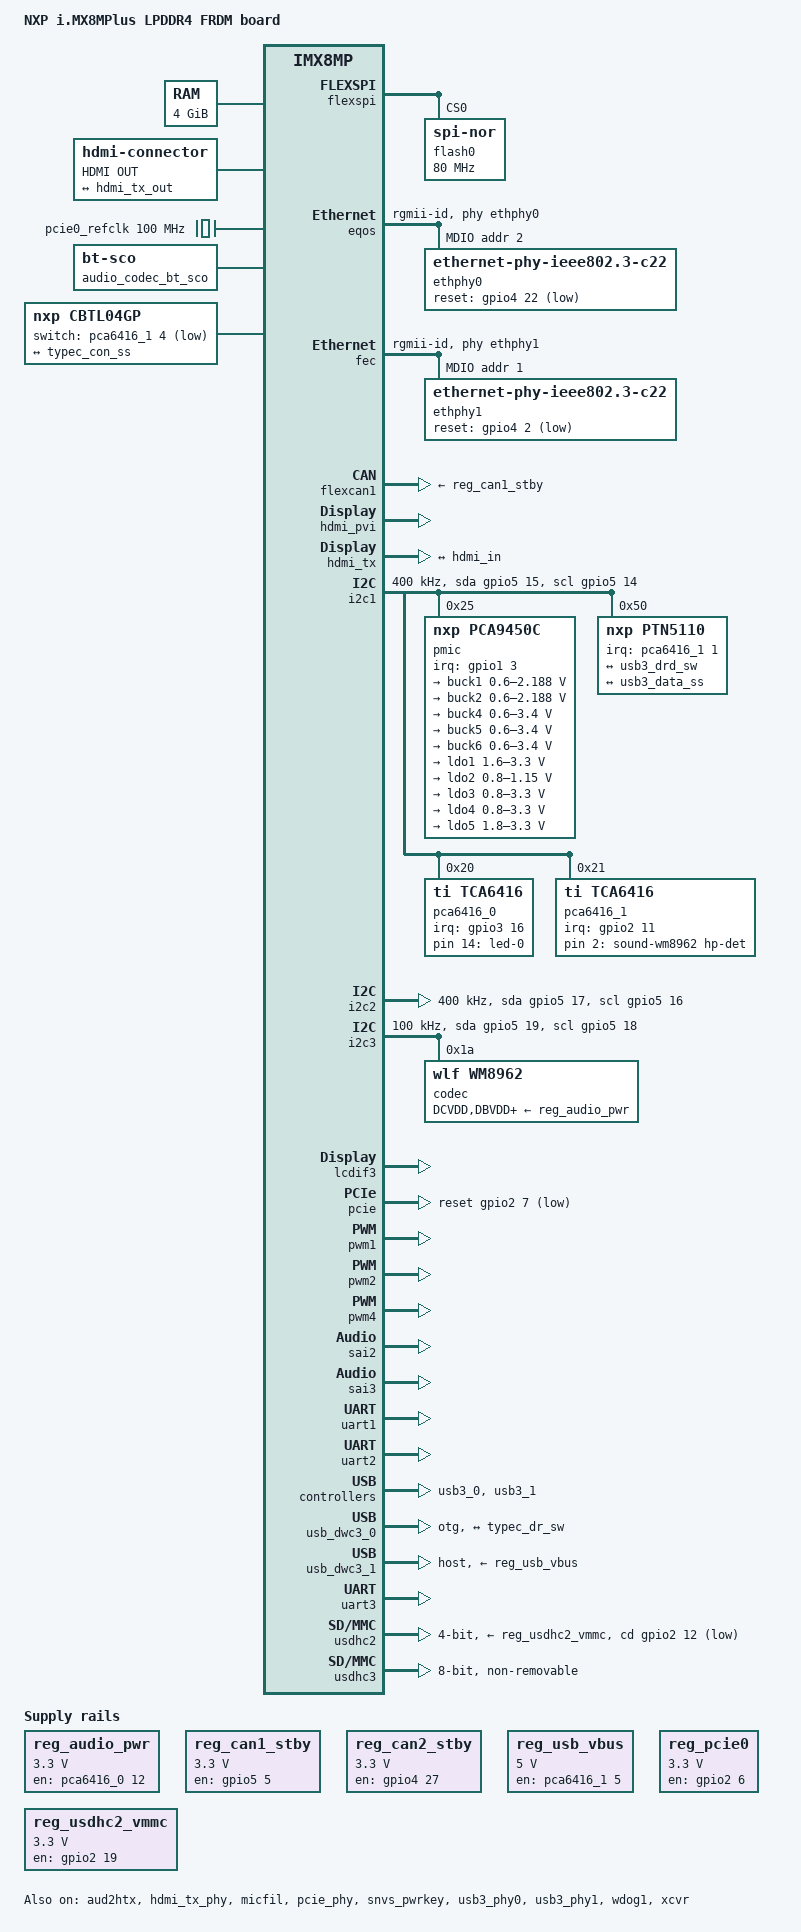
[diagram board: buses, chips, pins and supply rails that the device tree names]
// SPDX-License-Identifier: (GPL-2.0+ OR MIT)
/*
 * Copyright 2025 NXP
 */

/dts-v1/;

#include <dt-bindings/phy/phy-imx8-pcie.h>
#include <dt-bindings/usb/pd.h>
#include <../../../dts/upstream/src/arm64/freescale/imx8mp.dtsi>

/ {
	model = "NXP i.MX8MPlus LPDDR4 FRDM board";
	compatible = "fsl,imx8mp-frdm", "fsl,imx8mp";

	chosen {
		stdout-path = &uart2;
	};

	gpio-leds {
		compatible = "gpio-leds";

		led-0 {
			gpios = <&pca6416_0 14 GPIO_ACTIVE_HIGH>;
			default-state = "on";
		};
	};

	memory@40000000 {
		device_type = "memory";
		reg = <0x0 0x40000000 0 0xc0000000>,
			  <0x1 0x00000000 0 0x40000000>;
	};

	native-hdmi-connector {
		compatible = "hdmi-connector";
		label = "HDMI OUT";
		type = "a";

		port {
			hdmi_in: endpoint {
				remote-endpoint = <&hdmi_tx_out>;
			};
		};
	};

	pcie0_refclk: pcie0-refclk {
		compatible = "fixed-clock";
			#clock-cells = <0>;
			clock-frequency = <100000000>;
	};

	reg_audio_pwr: regulator-audio-pwr {
		compatible = "regulator-fixed";
		regulator-name = "audio-pwr";
		regulator-min-microvolt = <3300000>;
		regulator-max-microvolt = <3300000>;
		gpio = <&pca6416_0 12 GPIO_ACTIVE_HIGH>;
		enable-active-high;
		regulator-always-on;
	};

	reg_can1_stby: regulator-can1-stby {
		compatible = "regulator-fixed";
		regulator-name = "can1-stby";
		pinctrl-names = "default";
		pinctrl-0 = <&pinctrl_flexcan1_reg>;
		regulator-min-microvolt = <3300000>;
		regulator-max-microvolt = <3300000>;
		gpio = <&gpio5 5 GPIO_ACTIVE_HIGH>;
		enable-active-high;
	};

	reg_can2_stby: regulator-can2-stby {
		compatible = "regulator-fixed";
		regulator-name = "can2-stby";
		pinctrl-names = "default";
		pinctrl-0 = <&pinctrl_flexcan2_reg>;
		regulator-min-microvolt = <3300000>;
		regulator-max-microvolt = <3300000>;
		gpio = <&gpio4 27 GPIO_ACTIVE_HIGH>;
		enable-active-high;
	};

	reg_usb_vbus: regulator-usb-vbus {
		compatible = "regulator-fixed";
		pinctrl-names = "default";
		gpio = <&pca6416_1 5 GPIO_ACTIVE_HIGH>;
		regulator-max-microvolt = <5000000>;
		regulator-min-microvolt = <5000000>;
		regulator-name = "USB_VBUS";
		enable-active-high;
		regulator-always-on;
	};

	reg_pcie0: regulator-pcie {
		compatible = "regulator-fixed";
		pinctrl-names = "default";
		pinctrl-0 = <&pinctrl_pcie0_reg>;
		regulator-name = "MPCIE_3V3";
		regulator-min-microvolt = <3300000>;
		regulator-max-microvolt = <3300000>;
		gpio = <&gpio2 6 GPIO_ACTIVE_HIGH>;
		enable-active-high;
		regulator-always-on;
	};

	reg_usdhc2_vmmc: regulator-usdhc2 {
		compatible = "regulator-fixed";
		pinctrl-names = "default";
		pinctrl-0 = <&pinctrl_reg_usdhc2_vmmc>;
		regulator-name = "VSD_3V3";
		regulator-min-microvolt = <3300000>;
		regulator-max-microvolt = <3300000>;
		gpio = <&gpio2 19 GPIO_ACTIVE_HIGH>;
		enable-active-high;
	};

	audio_codec_bt_sco: audio-codec-bt-sco {
		compatible = "linux,bt-sco";
		#sound-dai-cells = <1>;
	};

	sound-bt-sco {
		compatible = "simple-audio-card";
		simple-audio-card,name = "bt-sco-audio";
		simple-audio-card,format = "dsp_a";
		simple-audio-card,bitclock-inversion;
		simple-audio-card,frame-master = <&btcpu>;
		simple-audio-card,bitclock-master = <&btcpu>;

		btcpu: simple-audio-card,cpu {
			sound-dai = <&sai2>;
			dai-tdm-slot-num = <2>;
			dai-tdm-slot-width = <16>;
		};

		simple-audio-card,codec {
			sound-dai = <&audio_codec_bt_sco 1>;
		};
	};

	sound-hdmi {
		compatible = "fsl,imx-audio-hdmi";
		model = "audio-hdmi";
		audio-cpu = <&aud2htx>;
		hdmi-out;
	};

	sound-micfil {
		compatible = "fsl,imx-audio-card";
		model = "micfil-audio";

		pri-dai-link {
			link-name = "micfil hifi";
			format = "i2s";

			cpu {
				sound-dai = <&micfil>;
			};
		};
	};

	sound-wm8962 {
		compatible = "fsl,imx-audio-wm8962";
		model = "wm8962-audio";
		audio-cpu = <&sai3>;
		audio-codec = <&codec>;
		audio-asrc = <&easrc>;
		hp-det-gpio = <&pca6416_1 2 GPIO_ACTIVE_HIGH>;
		audio-routing =
			"Headphone Jack", "HPOUTL",
			"Headphone Jack", "HPOUTR",
			"Ext Spk", "SPKOUTL",
			"Ext Spk", "SPKOUTR",
			"AMIC", "MICBIAS",
			"IN3R", "AMIC",
			"IN1R", "AMIC";
	};

	sound-xcvr {
		compatible = "fsl,imx-audio-card";
		model = "imx-audio-xcvr";

		pri-dai-link {
			link-name = "XCVR PCM";

			cpu {
				sound-dai = <&xcvr>;
			};
		};
	};

	reserved-memory {
		#address-cells = <2>;
		#size-cells = <2>;
		ranges;

		dsp_vdev0vring0: vdev0vring0@942f0000 {
			reg = <0 0x942f0000 0 0x8000>;
			no-map;
		};

		dsp_vdev0vring1: vdev0vring1@942f8000 {
			reg = <0 0x942f8000 0 0x8000>;
			no-map;
		};

		dsp_vdev0buffer: vdev0buffer@94300000 {
			compatible = "shared-dma-pool";
			reg = <0 0x94300000 0 0x100000>;
			no-map;
		};
	};

	cbtl04gp {
		compatible = "nxp,cbtl04gp";
		pinctrl-names = "default";
		switch-gpios = <&pca6416_1 4 GPIO_ACTIVE_LOW>;
		orientation-switch;

		port {
			usb3_data_ss: endpoint {
				remote-endpoint = <&typec_con_ss>;
			};
		};
	};
};

&flexspi {
	pinctrl-names = "default";
	pinctrl-0 = <&pinctrl_flexspi0>;
	status = "okay";

	flash0: flash@0 {
		reg = <0>;
		#address-cells = <1>;
		#size-cells = <1>;
		compatible = "jedec,spi-nor";
		spi-max-frequency = <80000000>;
		spi-tx-bus-width = <1>;
		spi-rx-bus-width = <4>;
	};
};

&A53_0 {
	cpu-supply = <&buck2>;
};

&A53_1 {
	cpu-supply = <&buck2>;
};

&A53_2 {
	cpu-supply = <&buck2>;
};

&A53_3 {
	cpu-supply = <&buck2>;
};

&aud2htx {
	status = "okay";
};

&eqos {
	pinctrl-names = "default";
	pinctrl-0 = <&pinctrl_eqos>;
	phy-mode = "rgmii-id";
	phy-handle = <&ethphy0>;
	snps,force_thresh_dma_mode;
	snps,mtl-tx-config = <&mtl_tx_setup>;
	snps,mtl-rx-config = <&mtl_rx_setup>;
	status = "okay";

	mdio {
		compatible = "snps,dwmac-mdio";
		#address-cells = <1>;
		#size-cells = <0>;

		ethphy0: ethernet-phy@2 {
			compatible = "ethernet-phy-ieee802.3-c22";
			reg = <2>;
			eee-broken-1000t;
			reset-gpios = <&gpio4 22 GPIO_ACTIVE_LOW>;
			reset-assert-us = <10000>;
			reset-deassert-us = <80000>;
			realtek,clkout-disable;
		};
	};

	mtl_tx_setup: tx-queues-config {
		snps,tx-queues-to-use = <5>;
		snps,tx-sched-sp;

		queue0 {
			snps,dcb-algorithm;
			snps,priority = <0x1>;
		};

		queue1 {
			snps,dcb-algorithm;
			snps,priority = <0x2>;
		};

		queue2 {
			snps,dcb-algorithm;
			snps,priority = <0x4>;
		};

		queue3 {
			snps,dcb-algorithm;
			snps,priority = <0x8>;
		};

		queue4 {
			snps,dcb-algorithm;
			snps,priority = <0xf0>;
		};
	};

	mtl_rx_setup: rx-queues-config {
		snps,rx-queues-to-use = <5>;
		snps,rx-sched-sp;

		queue0 {
			snps,dcb-algorithm;
			snps,priority = <0x1>;
			snps,map-to-dma-channel = <0>;
		};

		queue1 {
			snps,dcb-algorithm;
			snps,priority = <0x2>;
			snps,map-to-dma-channel = <1>;
		};

		queue2 {
			snps,dcb-algorithm;
			snps,priority = <0x4>;
			snps,map-to-dma-channel = <2>;
		};

		queue3 {
			snps,dcb-algorithm;
			snps,priority = <0x8>;
			snps,map-to-dma-channel = <3>;
		};

		queue4 {
			snps,dcb-algorithm;
			snps,priority = <0xf0>;
			snps,map-to-dma-channel = <4>;
		};
	};
};

&fec {
	pinctrl-names = "default";
	pinctrl-0 = <&pinctrl_fec>;
	phy-mode = "rgmii-id";
	phy-handle = <&ethphy1>;
	fsl,magic-packet;
	status = "okay";

	mdio {
		#address-cells = <1>;
		#size-cells = <0>;

		ethphy1: ethernet-phy@1 {
			compatible = "ethernet-phy-ieee802.3-c22";
			reg = <1>;
			eee-broken-1000t;
			reset-gpios = <&gpio4 2 GPIO_ACTIVE_LOW>;
			reset-assert-us = <10000>;
			reset-deassert-us = <80000>;
			realtek,aldps-enable;
			realtek,clkout-disable;
		};
	};
};

&flexcan1 {
	pinctrl-names = "default";
	pinctrl-0 = <&pinctrl_flexcan1>;
	xceiver-supply = <&reg_can1_stby>;
	status = "okay";
};

&flexcan2 {
	pinctrl-names = "default";
	pinctrl-0 = <&pinctrl_flexcan2>;
	xceiver-supply = <&reg_can2_stby>;
	status = "disabled";/* can2 pin conflict with pdm */
};

&hdmi_pvi {
	status = "okay";
};

&hdmi_tx {
	pinctrl-names = "default";
	pinctrl-0 = <&pinctrl_hdmi>;
	status = "okay";

	ports {
		port@1 {
			hdmi_tx_out: endpoint {
				remote-endpoint = <&hdmi_in>;
			};
		};
	};
};

&hdmi_tx_phy {
	status = "okay";
};

&i2c1 {
	clock-frequency = <400000>;
	pinctrl-names = "default", "gpio";
	pinctrl-0 = <&pinctrl_i2c1>;
	pinctrl-1 = <&pinctrl_i2c1_gpio>;
	scl-gpios = <&gpio5 14 GPIO_ACTIVE_HIGH>;
	sda-gpios = <&gpio5 15 GPIO_ACTIVE_HIGH>;
	status = "okay";

	pmic@25 {
		compatible = "nxp,pca9450c";
		reg = <0x25>;
		pinctrl-names = "default";
		pinctrl-0 = <&pinctrl_pmic>;
		interrupt-parent = <&gpio1>;
		interrupts = <3 IRQ_TYPE_LEVEL_LOW>;

		regulators {
			buck1: BUCK1 {
				regulator-name = "BUCK1";
				regulator-min-microvolt = <600000>;
				regulator-max-microvolt = <2187500>;
				regulator-boot-on;
				regulator-always-on;
				regulator-ramp-delay = <3125>;
			};

			buck2: BUCK2 {
				regulator-name = "BUCK2";
				regulator-min-microvolt = <600000>;
				regulator-max-microvolt = <2187500>;
				regulator-boot-on;
				regulator-always-on;
				regulator-ramp-delay = <3125>;
				nxp,dvs-run-voltage = <950000>;
				nxp,dvs-standby-voltage = <850000>;
			};

			buck4: BUCK4{
				regulator-name = "BUCK4";
				regulator-min-microvolt = <600000>;
				regulator-max-microvolt = <3400000>;
				regulator-boot-on;
				regulator-always-on;
			};

			buck5: BUCK5{
				regulator-name = "BUCK5";
				regulator-min-microvolt = <600000>;
				regulator-max-microvolt = <3400000>;
				regulator-boot-on;
				regulator-always-on;
			};

			buck6: BUCK6 {
				regulator-name = "BUCK6";
				regulator-min-microvolt = <600000>;
				regulator-max-microvolt = <3400000>;
				regulator-boot-on;
				regulator-always-on;
			};

			ldo1: LDO1 {
				regulator-name = "LDO1";
				regulator-min-microvolt = <1600000>;
				regulator-max-microvolt = <3300000>;
				regulator-boot-on;
				regulator-always-on;
			};

			ldo2: LDO2 {
				regulator-name = "LDO2";
				regulator-min-microvolt = <800000>;
				regulator-max-microvolt = <1150000>;
				regulator-boot-on;
				regulator-always-on;
			};

			ldo3: LDO3 {
				regulator-name = "LDO3";
				regulator-min-microvolt = <800000>;
				regulator-max-microvolt = <3300000>;
				regulator-boot-on;
				regulator-always-on;
			};

			ldo4: LDO4 {
				regulator-name = "LDO4";
				regulator-min-microvolt = <800000>;
				regulator-max-microvolt = <3300000>;
				regulator-boot-on;
				regulator-always-on;
			};

			ldo5: LDO5 {
				regulator-name = "LDO5";
				regulator-min-microvolt = <1800000>;
				regulator-max-microvolt = <3300000>;
				regulator-boot-on;
				regulator-always-on;
			};
		};
	};

	ptn5110: tcpc@50 {
		compatible = "nxp,ptn5110";
		pinctrl-names = "default";
		reg = <0x50>;
		interrupt-parent = <&pca6416_1>;
		interrupts = <1 IRQ_TYPE_EDGE_FALLING>;

		port {
			typec_dr_sw: endpoint {
				remote-endpoint = <&usb3_drd_sw>;
			};
		};

		usb_con: connector {
			compatible = "usb-c-connector";
			label = "USB-C";
			power-role = "dual";
			data-role = "dual";
			try-power-role = "sink";
			source-pdos = <PDO_FIXED(5000, 3000, PDO_FIXED_USB_COMM)>;
			sink-pdos = <PDO_FIXED(5000, 3000, PDO_FIXED_USB_COMM)
					PDO_VAR(5000, 20000, 3000)>;
			op-sink-microwatt = <15000000>;
			self-powered;

			ports {
				#address-cells = <1>;
				#size-cells = <0>;

				port@1 {
					reg = <1>;
					typec_con_ss: endpoint {
						remote-endpoint = <&usb3_data_ss>;
					};
				};
			};
		};
	};

	pca6416_0: gpio@20 {
		compatible = "ti,tca6416";
		reg = <0x20>;
		gpio-controller;
		#gpio-cells = <2>;
		interrupt-controller;
		#interrupt-cells = <2>;
		pinctrl-names = "default";
		pinctrl-0 = <&pinctrl_pca6416_0_int>;
		interrupt-parent = <&gpio3>;
		interrupts = <16 IRQ_TYPE_LEVEL_LOW>;
		gpio-line-names = "CS1_nRST",
			"CS2_nRST",
			"DSI_CTP_RST",
			"EXT_PWREN1",
			"CAN_STBY",
			"EXP_P0_5",
			"EXP_P0_6",
			"EXP_P0_7",
			"LVDS0_BLT_EN",
			"LVDS1_BLT_EN",
			"LVDS0_CTP_RST",
			"LVDS1_CTP_RST",
			"SPK_PWREN",
			"RLED_GPIO",
			"GLED_GPIO",
			"BLED_GPIO";
	};

	pca6416_1: gpio@21 {
		compatible = "ti,tca6416";
		reg = <0x21>;
		gpio-controller;
		#gpio-cells = <2>;
		interrupt-controller;
		#interrupt-cells = <2>;
		pinctrl-names = "default";
		pinctrl-0 = <&pinctrl_pca6416_1_int>;
		interrupt-parent = <&gpio2>;
		interrupts = <11 IRQ_TYPE_LEVEL_LOW>;
		gpio-line-names = "TCPC_nINT",
			"TCPC1_nINT",
			"AUD_nINT",
			"RTC_nINT",
			"USB1_SS_SEL",
			"USB2_PWR_EN",
			"SPI_EXP_ESL",
			"FAN_EXP_SEL",
			"W2_HOST_WAKE_SD_3V3",
			"W2_HOST_WAKE_BT_3V3",
			"W2_PDN_3V3",
			"W2_WL_RST_3V3",
			"W2_RST_IND_3V3",
			"SPI_nINT_3V3",
			"EXP_P1_6",
			"EXP_P1_7";
	};
};

&i2c2 {
	clock-frequency = <400000>;
	pinctrl-names = "default", "gpio";
	pinctrl-0 = <&pinctrl_i2c2>;
	pinctrl-1 = <&pinctrl_i2c2_gpio>;
	scl-gpios = <&gpio5 16 GPIO_ACTIVE_HIGH>;
	sda-gpios = <&gpio5 17 GPIO_ACTIVE_HIGH>;
	status = "okay";

};

&i2c3 {
	clock-frequency = <100000>;
	pinctrl-names = "default", "gpio";
	pinctrl-0 = <&pinctrl_i2c3>;
	pinctrl-1 = <&pinctrl_i2c3_gpio>;
	scl-gpios = <&gpio5 18 GPIO_ACTIVE_HIGH>;
	sda-gpios = <&gpio5 19 GPIO_ACTIVE_HIGH>;
	status = "okay";

	codec: wm8962@1a {
		compatible = "wlf,wm8962";
		reg = <0x1a>;
		clocks = <&audio_blk_ctrl IMX8MP_CLK_AUDIOMIX_SAI3_MCLK1>;
		DCVDD-supply = <&reg_audio_pwr>;
		DBVDD-supply = <&reg_audio_pwr>;
		AVDD-supply = <&reg_audio_pwr>;
		CPVDD-supply = <&reg_audio_pwr>;
		MICVDD-supply = <&reg_audio_pwr>;
		PLLVDD-supply = <&reg_audio_pwr>;
		SPKVDD1-supply = <&reg_audio_pwr>;
		SPKVDD2-supply = <&reg_audio_pwr>;
		gpio-cfg = <
			0x0000 /* 0:Default */
			0x0000 /* 1:Default */
			0x0000 /* 2:FN_DMICCLK */
			0x0000 /* 3:Default */
			0x0000 /* 4:FN_DMICCDAT */
			0x0000 /* 5:Default */
		>;
	};
};

/* I2C on expansion connector J22. */
&i2c5 {
	clock-frequency = <100000>; /* Lower clock speed for external bus. */
	pinctrl-names = "default";
	pinctrl-0 = <&pinctrl_i2c5>;
	status = "disabled"; /* can1 pins conflict with i2c5 */

	/* GPIO 2 of PCA6416 is used to switch between CAN1 and I2C5 functions:
	 *	 LOW:  CAN1 (default, pull-down)
	 *	 HIGH: I2C5
	 * You need to set it to high to enable I2C5 (for example, add gpio-hog
	 * in pca6416 node).
	 */
};

&lcdif3 {
	status = "okay";
};

&micfil {
	#sound-dai-cells = <0>;
	pinctrl-names = "default";
	pinctrl-0 = <&pinctrl_pdm>;
	assigned-clocks = <&clk IMX8MP_CLK_PDM>;
	assigned-clock-parents = <&clk IMX8MP_AUDIO_PLL1_OUT>;
	assigned-clock-rates = <196608000>;
	status = "okay";
};

&mipi_dsi {
	status = "disabled";
};

&pcie_phy {
	fsl,refclk-pad-mode = <IMX8_PCIE_REFCLK_PAD_INPUT>;
	clocks = <&pcie0_refclk>;
	clock-names = "ref";
	status = "okay";
};

&pcie {
	pinctrl-names = "default";
	pinctrl-0 = <&pinctrl_pcie0>;
	reset-gpio = <&gpio2 7 GPIO_ACTIVE_LOW>;
	clocks = <&clk IMX8MP_CLK_HSIO_ROOT>,
		<&clk IMX8MP_CLK_PCIE_ROOT>,
		<&clk IMX8MP_CLK_HSIO_AXI>;
	clock-names = "pcie", "pcie_aux", "pcie_bus";
	assigned-clocks = <&clk IMX8MP_CLK_PCIE_AUX>;
	assigned-clock-rates = <10000000>;
	assigned-clock-parents = <&clk IMX8MP_SYS_PLL2_50M>;
	vpcie-supply = <&reg_pcie0>;
	status = "okay";
};

&pwm1 {
	pinctrl-names = "default";
	pinctrl-0 = <&pinctrl_pwm1>;
	status = "okay";
};

&pwm2 {
	pinctrl-names = "default";
	pinctrl-0 = <&pinctrl_pwm2>;
	status = "okay";
};

&pwm4 {
	pinctrl-names = "default";
	pinctrl-0 = <&pinctrl_pwm4>;
	status = "okay";
};

&sai2 {
	#sound-dai-cells = <0>;
	pinctrl-names = "default";
	pinctrl-0 = <&pinctrl_sai2>;
	assigned-clocks = <&clk IMX8MP_CLK_SAI2>;
	assigned-clock-parents = <&clk IMX8MP_AUDIO_PLL1_OUT>;
	assigned-clock-rates = <12288000>;
	fsl,sai-mclk-direction-output;
	status = "okay";
};

&sai3 {
	pinctrl-names = "default";
	pinctrl-0 = <&pinctrl_sai3>;
	assigned-clocks = <&clk IMX8MP_CLK_SAI3>;
	assigned-clock-parents = <&clk IMX8MP_AUDIO_PLL1_OUT>;
	assigned-clock-rates = <12288000>;
	fsl,sai-mclk-direction-output;
	status = "okay";
};

&snvs_pwrkey {
	status = "okay";
};

&uart1 {
	/* BT */
	pinctrl-names = "default";
	pinctrl-0 = <&pinctrl_uart1>;
	assigned-clocks = <&clk IMX8MP_CLK_UART1>;
	assigned-clock-parents = <&clk IMX8MP_SYS_PLL1_80M>;
	uart-has-rtscts;
	status = "okay";
};

&uart2 {
	/* console */
	pinctrl-names = "default";
	pinctrl-0 = <&pinctrl_uart2>;
	status = "okay";
};

&usb3_phy0 {
	fsl,phy-tx-vref-tune = <0xe>;
	fsl,phy-tx-preemp-amp-tune = <3>;
	fsl,phy-tx-vboost-level = <5>;
	fsl,phy-comp-dis-tune = <7>;
	fsl,pcs-tx-deemph-3p5db = <0x21>;
	fsl,phy-pcs-tx-swing-full = <0x7f>;
	status = "okay";
};

&usb3_0 {
	status = "okay";
};

&usb_dwc3_0 {
	dr_mode = "otg";
	hnp-disable;
	srp-disable;
	adp-disable;
	usb-role-switch;
	role-switch-default-mode = "none";
	snps,dis-u1-entry-quirk;
	snps,dis-u2-entry-quirk;
	status = "okay";

	port {
		usb3_drd_sw: endpoint {
			remote-endpoint = <&typec_dr_sw>;
		};
	};
};

&usb3_phy1 {
	fsl,phy-tx-preemp-amp-tune = <3>;
	fsl,phy-tx-vref-tune = <0xb>;
	status = "okay";
};

&usb3_1 {
	status = "okay";
};

&usb_dwc3_1 {
	vbus-supply = <&reg_usb_vbus>;
	dr_mode = "host";
	status = "okay";
};

&uart3 {
	pinctrl-names = "default";
	pinctrl-0 = <&pinctrl_uart3>;
	assigned-clocks = <&clk IMX8MP_CLK_UART3>;
	assigned-clock-parents = <&clk IMX8MP_SYS_PLL1_80M>;
	uart-has-rtscts;
	status = "okay";
};

&usdhc2 {
	assigned-clocks = <&clk IMX8MP_CLK_USDHC2>;
	assigned-clock-rates = <400000000>;
	pinctrl-names = "default", "state_100mhz", "state_200mhz";
	pinctrl-0 = <&pinctrl_usdhc2>, <&pinctrl_usdhc2_gpio>;
	pinctrl-1 = <&pinctrl_usdhc2_100mhz>, <&pinctrl_usdhc2_gpio>;
	pinctrl-2 = <&pinctrl_usdhc2_200mhz>, <&pinctrl_usdhc2_gpio>;
	cd-gpios = <&gpio2 12 GPIO_ACTIVE_LOW>;
	vmmc-supply = <&reg_usdhc2_vmmc>;
	bus-width = <4>;
	status = "okay";
};

&usdhc3 {
	assigned-clocks = <&clk IMX8MP_CLK_USDHC3>;
	assigned-clock-rates = <400000000>;
	pinctrl-names = "default", "state_100mhz", "state_200mhz";
	pinctrl-0 = <&pinctrl_usdhc3>;
	pinctrl-1 = <&pinctrl_usdhc3_100mhz>;
	pinctrl-2 = <&pinctrl_usdhc3_200mhz>;
	bus-width = <8>;
	non-removable;
	status = "okay";
};

&wdog1 {
	pinctrl-names = "default";
	pinctrl-0 = <&pinctrl_wdog>;
	fsl,ext-reset-output;
	status = "okay";
};

&xcvr {
	#sound-dai-cells = <0>;
	status = "okay";
};

&iomuxc {
	pinctrl-names = "default";
	pinctrl-0 = <&pinctrl_hog>;

	pinctrl_eqos: eqosgrp {
		fsl,pins = <
			MX8MP_IOMUXC_ENET_MDC__ENET_QOS_MDC				0x2
			MX8MP_IOMUXC_ENET_MDIO__ENET_QOS_MDIO				0x2
			MX8MP_IOMUXC_ENET_RD0__ENET_QOS_RGMII_RD0			0x90
			MX8MP_IOMUXC_ENET_RD1__ENET_QOS_RGMII_RD1			0x90
			MX8MP_IOMUXC_ENET_RD2__ENET_QOS_RGMII_RD2			0x90
			MX8MP_IOMUXC_ENET_RD3__ENET_QOS_RGMII_RD3			0x90
			MX8MP_IOMUXC_ENET_RXC__CCM_ENET_QOS_CLOCK_GENERATE_RX_CLK	0x90
			MX8MP_IOMUXC_ENET_RX_CTL__ENET_QOS_RGMII_RX_CTL			0x90
			MX8MP_IOMUXC_ENET_TD0__ENET_QOS_RGMII_TD0			0x16
			MX8MP_IOMUXC_ENET_TD1__ENET_QOS_RGMII_TD1			0x16
			MX8MP_IOMUXC_ENET_TD2__ENET_QOS_RGMII_TD2			0x16
			MX8MP_IOMUXC_ENET_TD3__ENET_QOS_RGMII_TD3			0x16
			MX8MP_IOMUXC_ENET_TX_CTL__ENET_QOS_RGMII_TX_CTL			0x16
			MX8MP_IOMUXC_ENET_TXC__CCM_ENET_QOS_CLOCK_GENERATE_TX_CLK	0x16
			MX8MP_IOMUXC_SAI2_RXC__GPIO4_IO22				0x10
		>;
	};

	pinctrl_fec: fecgrp {
		fsl,pins = <
			MX8MP_IOMUXC_SAI1_RXD2__ENET1_MDC		0x2
			MX8MP_IOMUXC_SAI1_RXD3__ENET1_MDIO		0x2
			MX8MP_IOMUXC_SAI1_RXD4__ENET1_RGMII_RD0		0x90
			MX8MP_IOMUXC_SAI1_RXD5__ENET1_RGMII_RD1		0x90
			MX8MP_IOMUXC_SAI1_RXD6__ENET1_RGMII_RD2		0x90
			MX8MP_IOMUXC_SAI1_RXD7__ENET1_RGMII_RD3		0x90
			MX8MP_IOMUXC_SAI1_TXC__ENET1_RGMII_RXC		0x90
			MX8MP_IOMUXC_SAI1_TXFS__ENET1_RGMII_RX_CTL	0x90
			MX8MP_IOMUXC_SAI1_TXD0__ENET1_RGMII_TD0		0x16
			MX8MP_IOMUXC_SAI1_TXD1__ENET1_RGMII_TD1		0x16
			MX8MP_IOMUXC_SAI1_TXD2__ENET1_RGMII_TD2		0x16
			MX8MP_IOMUXC_SAI1_TXD3__ENET1_RGMII_TD3		0x16
			MX8MP_IOMUXC_SAI1_TXD4__ENET1_RGMII_TX_CTL	0x16
			MX8MP_IOMUXC_SAI1_TXD5__ENET1_RGMII_TXC		0x16
			MX8MP_IOMUXC_SAI1_RXD0__GPIO4_IO02		0x10
		>;
	};

	pinctrl_flexcan1: flexcan1grp {
		fsl,pins = <
			MX8MP_IOMUXC_SPDIF_RX__CAN1_RX		  0x154
			MX8MP_IOMUXC_SPDIF_TX__CAN1_TX		  0x154
		>;
	};

	pinctrl_flexcan2: flexcan2grp {
		fsl,pins = <
			MX8MP_IOMUXC_SAI5_MCLK__CAN2_RX		 0x154
			MX8MP_IOMUXC_SAI5_RXD3__CAN2_TX		 0x154
		>;
	};

	pinctrl_flexcan1_reg: flexcan1reggrp {
		fsl,pins = <
			MX8MP_IOMUXC_SPDIF_EXT_CLK__GPIO5_IO05  0x154   /* CAN1_STBY */
		>;
	};

	pinctrl_flexcan2_reg: flexcan2reggrp {
		fsl,pins = <
			MX8MP_IOMUXC_SAI2_MCLK__GPIO4_IO27	  0x154   /* CAN2_STBY */
		>;
	};

	pinctrl_flexspi0: flexspi0grp {
		fsl,pins = <
			MX8MP_IOMUXC_NAND_ALE__FLEXSPI_A_SCLK		   0x1c2
			MX8MP_IOMUXC_NAND_CE0_B__FLEXSPI_A_SS0_B		0x82
			MX8MP_IOMUXC_NAND_DATA00__FLEXSPI_A_DATA00	  0x82
			MX8MP_IOMUXC_NAND_DATA01__FLEXSPI_A_DATA01	  0x82
			MX8MP_IOMUXC_NAND_DATA02__FLEXSPI_A_DATA02	  0x82
			MX8MP_IOMUXC_NAND_DATA03__FLEXSPI_A_DATA03	  0x82
		>;
	};

	pinctrl_gpio_led: gpioledgrp {
		fsl,pins = <
			MX8MP_IOMUXC_NAND_READY_B__GPIO3_IO16	0x140
		>;
	};

	pinctrl_hdmi: hdmigrp {
		fsl,pins = <
			MX8MP_IOMUXC_HDMI_DDC_SCL__HDMIMIX_HDMI_SCL	0x1c2
			MX8MP_IOMUXC_HDMI_DDC_SDA__HDMIMIX_HDMI_SDA	0x1c2
			MX8MP_IOMUXC_HDMI_CEC__HDMIMIX_HDMI_CEC		0x10
		>;
	};

	pinctrl_hog: hoggrp {
		fsl,pins = <
			MX8MP_IOMUXC_HDMI_HPD__HDMIMIX_HDMI_HPD		0x40000010
		>;
	};

	pinctrl_i2c1: i2c1grp {
		fsl,pins = <
			MX8MP_IOMUXC_I2C1_SCL__I2C1_SCL		0x400001c2
			MX8MP_IOMUXC_I2C1_SDA__I2C1_SDA		0x400001c2
		>;
	};

	pinctrl_i2c2: i2c2grp {
		fsl,pins = <
			MX8MP_IOMUXC_I2C2_SCL__I2C2_SCL		0x400001c2
			MX8MP_IOMUXC_I2C2_SDA__I2C2_SDA		0x400001c2
		>;
	};

	pinctrl_i2c3: i2c3grp {
		fsl,pins = <
			MX8MP_IOMUXC_I2C3_SCL__I2C3_SCL		0x400001c2
			MX8MP_IOMUXC_I2C3_SDA__I2C3_SDA		0x400001c2
		>;
	};

	pinctrl_i2c5: i2c5grp {
		fsl,pins = <
			MX8MP_IOMUXC_SPDIF_RX__I2C5_SDA		 0x400001c2
			MX8MP_IOMUXC_SPDIF_TX__I2C5_SCL		 0x400001c2
		>;
	};

	pinctrl_pcie0: pcie0grp {
		fsl,pins = <
			MX8MP_IOMUXC_I2C4_SCL__PCIE_CLKREQ_B	0x60 /* open drain, pull up */
			MX8MP_IOMUXC_SD1_DATA5__GPIO2_IO07	0x40
			MX8MP_IOMUXC_I2C4_SDA__GPIO5_IO21	0x1c4
		>;
	};

	pinctrl_pcie0_reg: pcie0reggrp {
		fsl,pins = <
			MX8MP_IOMUXC_SD1_DATA4__GPIO2_IO06	0x40
		>;
	};

	pinctrl_pdm: pdmgrp {
		fsl,pins = <
			MX8MP_IOMUXC_SAI5_RXC__AUDIOMIX_PDM_CLK		0xd6
			MX8MP_IOMUXC_SAI5_RXD0__AUDIOMIX_PDM_BIT_STREAM00	0xd6
			MX8MP_IOMUXC_SAI5_RXD1__AUDIOMIX_PDM_BIT_STREAM01	0xd6
			MX8MP_IOMUXC_SAI5_RXD2__AUDIOMIX_PDM_BIT_STREAM02	0xd6
			MX8MP_IOMUXC_SAI5_RXD3__AUDIOMIX_PDM_BIT_STREAM03	0xd6
		>;
	};

	pinctrl_pmic: pmicirqgrp {
		fsl,pins = <
			MX8MP_IOMUXC_GPIO1_IO03__GPIO1_IO03	0x000001c0
		>;
	};

	pinctrl_pca6416_0_int: pca6416_0_int_grp {
		fsl,pins = <
			MX8MP_IOMUXC_NAND_READY_B__GPIO3_IO16   0x146 /* Input pull-up. */
		>;
	};

	pinctrl_pca6416_1_int: pca6416_1_int_grp {
		fsl,pins = <
			MX8MP_IOMUXC_SD1_STROBE__GPIO2_IO11	 0x146 /* Input pull-up. */
		>;
	};

	pinctrl_pwm1: pwm1grp {
		fsl,pins = <
			MX8MP_IOMUXC_GPIO1_IO01__PWM1_OUT	0x116
		>;
	};

	pinctrl_pwm2: pwm2grp {
		fsl,pins = <
			MX8MP_IOMUXC_GPIO1_IO11__PWM2_OUT	0x116
		>;
	};

	pinctrl_pwm4: pwm4grp {
		fsl,pins = <
			MX8MP_IOMUXC_SAI5_RXFS__PWM4_OUT	0x116
		>;
	};

	pinctrl_reg_usdhc2_vmmc: regusdhc2vmmcgrp {
		fsl,pins = <
			MX8MP_IOMUXC_SD2_RESET_B__GPIO2_IO19	0x40
		>;
	};

	pinctrl_uart1: uart1grp {
		fsl,pins = <
			MX8MP_IOMUXC_UART1_RXD__UART1_DCE_RX	0x140
			MX8MP_IOMUXC_UART1_TXD__UART1_DCE_TX	0x140
			MX8MP_IOMUXC_UART3_RXD__UART1_DCE_CTS	0x140
			MX8MP_IOMUXC_UART3_TXD__UART1_DCE_RTS	0x140
		>;
	};

	pinctrl_sai2: sai2grp {
		fsl,pins = <
			MX8MP_IOMUXC_SAI2_TXC__AUDIOMIX_SAI2_TX_BCLK	0xd6
			MX8MP_IOMUXC_SAI2_TXFS__AUDIOMIX_SAI2_TX_SYNC	0xd6
			MX8MP_IOMUXC_SAI2_TXD0__AUDIOMIX_SAI2_TX_DATA00	0xd6
			MX8MP_IOMUXC_SAI2_RXD0__AUDIOMIX_SAI2_RX_DATA00	0xd6
		>;
	};

	pinctrl_sai3: sai3grp {
		fsl,pins = <
			MX8MP_IOMUXC_SAI3_TXFS__AUDIOMIX_SAI3_TX_SYNC	0xd6
			MX8MP_IOMUXC_SAI3_TXC__AUDIOMIX_SAI3_TX_BCLK	0xd6
			MX8MP_IOMUXC_SAI3_RXD__AUDIOMIX_SAI3_RX_DATA00	0xd6
			MX8MP_IOMUXC_SAI3_TXD__AUDIOMIX_SAI3_TX_DATA00	0xd6
			MX8MP_IOMUXC_SAI3_MCLK__AUDIOMIX_SAI3_MCLK	0xd6
		>;
	};

	pinctrl_uart2: uart2grp {
		fsl,pins = <
			MX8MP_IOMUXC_UART2_RXD__UART2_DCE_RX	0x140
			MX8MP_IOMUXC_UART2_TXD__UART2_DCE_TX	0x140
		>;
	};

	pinctrl_uart3: uart3grp {
		fsl,pins = <
			MX8MP_IOMUXC_ECSPI1_SCLK__UART3_DCE_RX		0x140
			MX8MP_IOMUXC_ECSPI1_MOSI__UART3_DCE_TX		0x140
			MX8MP_IOMUXC_ECSPI1_SS0__UART3_DCE_RTS		0x140
			MX8MP_IOMUXC_ECSPI1_MISO__UART3_DCE_CTS		0x140
		>;
	};

	pinctrl_usdhc2: usdhc2grp {
		fsl,pins = <
			MX8MP_IOMUXC_SD2_CLK__USDHC2_CLK	0x190
			MX8MP_IOMUXC_SD2_CMD__USDHC2_CMD	0x1d0
			MX8MP_IOMUXC_SD2_DATA0__USDHC2_DATA0	0x1d0
			MX8MP_IOMUXC_SD2_DATA1__USDHC2_DATA1	0x1d0
			MX8MP_IOMUXC_SD2_DATA2__USDHC2_DATA2	0x1d0
			MX8MP_IOMUXC_SD2_DATA3__USDHC2_DATA3	0x1d0
			MX8MP_IOMUXC_GPIO1_IO04__USDHC2_VSELECT	0xc0
		>;
	};

	pinctrl_usdhc2_100mhz: usdhc2-100mhzgrp {
		fsl,pins = <
			MX8MP_IOMUXC_SD2_CLK__USDHC2_CLK	0x194
			MX8MP_IOMUXC_SD2_CMD__USDHC2_CMD	0x1d4
			MX8MP_IOMUXC_SD2_DATA0__USDHC2_DATA0	0x1d4
			MX8MP_IOMUXC_SD2_DATA1__USDHC2_DATA1	0x1d4
			MX8MP_IOMUXC_SD2_DATA2__USDHC2_DATA2	0x1d4
			MX8MP_IOMUXC_SD2_DATA3__USDHC2_DATA3	0x1d4
			MX8MP_IOMUXC_GPIO1_IO04__USDHC2_VSELECT 0xc0
		>;
	};

	pinctrl_usdhc2_200mhz: usdhc2-200mhzgrp {
		fsl,pins = <
			MX8MP_IOMUXC_SD2_CLK__USDHC2_CLK	0x196
			MX8MP_IOMUXC_SD2_CMD__USDHC2_CMD	0x1d6
			MX8MP_IOMUXC_SD2_DATA0__USDHC2_DATA0	0x1d6
			MX8MP_IOMUXC_SD2_DATA1__USDHC2_DATA1	0x1d6
			MX8MP_IOMUXC_SD2_DATA2__USDHC2_DATA2	0x1d6
			MX8MP_IOMUXC_SD2_DATA3__USDHC2_DATA3	0x1d6
			MX8MP_IOMUXC_GPIO1_IO04__USDHC2_VSELECT 0xc0
		>;
	};

	pinctrl_usdhc2_gpio: usdhc2gpiogrp {
		fsl,pins = <
			MX8MP_IOMUXC_SD2_CD_B__GPIO2_IO12	0x1c4
		>;
	};

	pinctrl_usdhc3: usdhc3grp {
		fsl,pins = <
			MX8MP_IOMUXC_NAND_WE_B__USDHC3_CLK	0x190
			MX8MP_IOMUXC_NAND_WP_B__USDHC3_CMD	0x1d0
			MX8MP_IOMUXC_NAND_DATA04__USDHC3_DATA0	0x1d0
			MX8MP_IOMUXC_NAND_DATA05__USDHC3_DATA1	0x1d0
			MX8MP_IOMUXC_NAND_DATA06__USDHC3_DATA2	0x1d0
			MX8MP_IOMUXC_NAND_DATA07__USDHC3_DATA3	0x1d0
			MX8MP_IOMUXC_NAND_RE_B__USDHC3_DATA4	0x1d0
			MX8MP_IOMUXC_NAND_CE2_B__USDHC3_DATA5	0x1d0
			MX8MP_IOMUXC_NAND_CE3_B__USDHC3_DATA6	0x1d0
			MX8MP_IOMUXC_NAND_CLE__USDHC3_DATA7	0x1d0
			MX8MP_IOMUXC_NAND_CE1_B__USDHC3_STROBE	0x190
		>;
	};

	pinctrl_usdhc3_100mhz: usdhc3-100mhzgrp {
		fsl,pins = <
			MX8MP_IOMUXC_NAND_WE_B__USDHC3_CLK	0x194
			MX8MP_IOMUXC_NAND_WP_B__USDHC3_CMD	0x1d4
			MX8MP_IOMUXC_NAND_DATA04__USDHC3_DATA0	0x1d4
			MX8MP_IOMUXC_NAND_DATA05__USDHC3_DATA1	0x1d4
			MX8MP_IOMUXC_NAND_DATA06__USDHC3_DATA2	0x1d4
			MX8MP_IOMUXC_NAND_DATA07__USDHC3_DATA3	0x1d4
			MX8MP_IOMUXC_NAND_RE_B__USDHC3_DATA4	0x1d4
			MX8MP_IOMUXC_NAND_CE2_B__USDHC3_DATA5	0x1d4
			MX8MP_IOMUXC_NAND_CE3_B__USDHC3_DATA6	0x1d4
			MX8MP_IOMUXC_NAND_CLE__USDHC3_DATA7	0x1d4
			MX8MP_IOMUXC_NAND_CE1_B__USDHC3_STROBE	0x194
		>;
	};

	pinctrl_usdhc3_200mhz: usdhc3-200mhzgrp {
		fsl,pins = <
			MX8MP_IOMUXC_NAND_WE_B__USDHC3_CLK	0x196
			MX8MP_IOMUXC_NAND_WP_B__USDHC3_CMD	0x1d6
			MX8MP_IOMUXC_NAND_DATA04__USDHC3_DATA0	0x1d6
			MX8MP_IOMUXC_NAND_DATA05__USDHC3_DATA1	0x1d6
			MX8MP_IOMUXC_NAND_DATA06__USDHC3_DATA2	0x1d6
			MX8MP_IOMUXC_NAND_DATA07__USDHC3_DATA3	0x1d6
			MX8MP_IOMUXC_NAND_RE_B__USDHC3_DATA4	0x1d6
			MX8MP_IOMUXC_NAND_CE2_B__USDHC3_DATA5	0x1d6
			MX8MP_IOMUXC_NAND_CE3_B__USDHC3_DATA6	0x1d6
			MX8MP_IOMUXC_NAND_CLE__USDHC3_DATA7	0x1d6
			MX8MP_IOMUXC_NAND_CE1_B__USDHC3_STROBE	0x196
		>;
	};

	pinctrl_wdog: wdoggrp {
		fsl,pins = <
			MX8MP_IOMUXC_GPIO1_IO02__WDOG1_WDOG_B	0x166
		>;
	};
};
